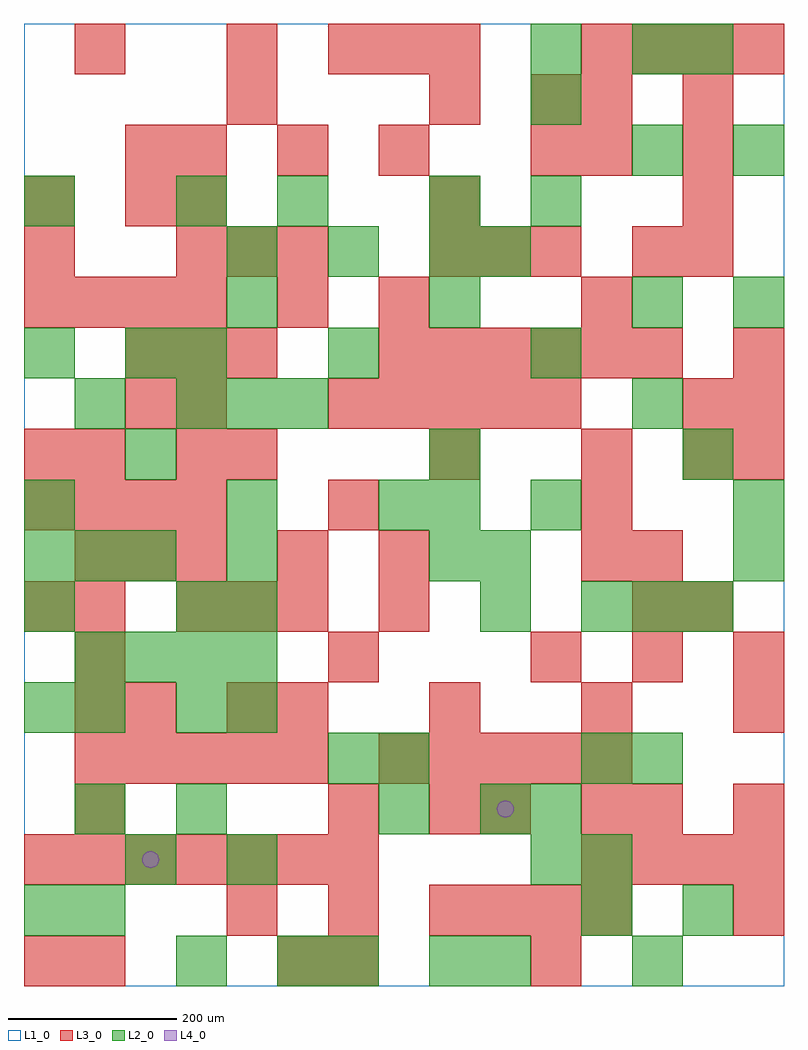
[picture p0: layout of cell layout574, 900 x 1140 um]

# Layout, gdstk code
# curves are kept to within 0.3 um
import gdstk
lib = gdstk.Library(unit=1e-6, precision=1e-09)
def R(c, l, rs):  # rectangles x0, y0, x1, y1
    for r in rs: c.add(gdstk.rectangle(r[:2], r[2:], *l))
def A(c, l, x, y, w, h, nx, ny, dx, dy):  # array of equal rectangles
    R(c, l, [(x+i*dx, y+j*dy, x+i*dx+w, y+j*dy+h) for i in range(nx) for j in range(ny)])
def P(c, l, *ps):  # polygons
    for p in ps: c.add(gdstk.Polygon(p, *l))
L1_0 = (1, 0)
L2_0 = (2, 0)
L3_0 = (3, 0)
L4_0 = (4, 0)

layout574 = lib.new_cell('layout574')
R(layout574, L1_0, [(0,0,900,1140)])
A(layout574, L2_0, 60, 60, 60, 60, 1, 3, 0, 120)
A(layout574, L2_0, 180, 180, 60, 60, 1, 3, 0, 120)
A(layout574, L2_0, 0, 300, 60, 60, 1, 3, 0, 120)
A(layout574, L2_0, 60, 360, 60, 60, 4, 1, 60, 0)
A(layout574, L2_0, 240, 420, 60, 60, 1, 3, 0, 60)
A(layout574, L2_0, 660, 420, 60, 60, 3, 1, 60, 0)
A(layout574, L2_0, 0, 480, 60, 60, 3, 1, 60, 0)
A(layout574, L2_0, 480, 480, 60, 60, 1, 3, 0, 60)
A(layout574, L2_0, 600, 540, 60, 60, 1, 3, 0, 180)
A(layout574, L2_0, 180, 660, 60, 60, 3, 1, 60, 0)
A(layout574, L2_0, 240, 780, 60, 60, 3, 1, 240, 0)
A(layout574, L2_0, 240, 840, 60, 60, 3, 1, 120, 0)
R(layout574, L2_0, [(180,0,240,60), (300,0,360,60), (360,0,420,60), (480,0,540,60), (540,0,600,60), (720,0,780,60), (0,60,60,120), (660,60,720,120), (780,60,840,120), (120,120,180,180), (240,120,300,180), (600,120,660,180), (660,120,720,180), (420,180,480,240), (540,180,600,240), (600,180,660,240), (360,240,420,300), (420,240,480,300), (660,240,720,300), (720,240,780,300), (240,300,300,360), (540,420,600,480), (540,480,600,540), (840,480,900,540), (420,540,480,600), (840,540,900,600), (120,600,180,660), (780,600,840,660), (60,660,120,720), (720,660,780,720), (0,720,60,780), (120,720,180,780), (180,720,240,780), (360,720,420,780), (840,780,900,840), (540,840,600,900), (0,900,60,960), (180,900,240,960), (300,900,360,960), (480,900,540,960), (720,960,780,1020), (840,960,900,1020), (600,1020,660,1080), (600,1080,660,1140), (720,1080,780,1140), (780,1080,840,1140)])
A(layout574, L3_0, 360, 0, 60, 60, 1, 4, 0, 180)
A(layout574, L3_0, 240, 60, 60, 60, 3, 1, 120, 0)
A(layout574, L3_0, 540, 60, 60, 60, 3, 1, 60, 0)
A(layout574, L3_0, 0, 120, 60, 60, 7, 1, 60, 0)
A(layout574, L3_0, 660, 120, 60, 60, 4, 2, 60, 960)
A(layout574, L3_0, 480, 180, 60, 60, 1, 3, 0, 420)
A(layout574, L3_0, 60, 240, 60, 60, 5, 1, 60, 0)
A(layout574, L3_0, 420, 240, 60, 60, 5, 1, 60, 0)
A(layout574, L3_0, 60, 300, 60, 60, 1, 3, 0, 60)
A(layout574, L3_0, 300, 300, 60, 60, 4, 1, 180, 0)
A(layout574, L3_0, 600, 360, 60, 60, 3, 1, 120, 0)
A(layout574, L3_0, 180, 420, 60, 60, 3, 2, 60, 420)
A(layout574, L3_0, 60, 480, 60, 60, 3, 1, 60, 0)
A(layout574, L3_0, 660, 480, 60, 60, 1, 3, 0, 60)
A(layout574, L3_0, 0, 540, 60, 60, 4, 2, 60, 240)
A(layout574, L3_0, 840, 600, 60, 60, 1, 3, 0, 60)
A(layout574, L3_0, 360, 660, 60, 60, 5, 1, 60, 0)
A(layout574, L3_0, 120, 720, 60, 60, 3, 1, 60, 0)
A(layout574, L3_0, 420, 720, 60, 60, 6, 1, 60, 0)
A(layout574, L3_0, 480, 840, 60, 60, 3, 1, 60, 0)
A(layout574, L3_0, 180, 900, 60, 60, 3, 1, 300, 0)
A(layout574, L3_0, 180, 960, 60, 60, 3, 1, 120, 0)
A(layout574, L3_0, 360, 1080, 60, 60, 3, 1, 60, 0)
R(layout574, L3_0, [(0,0,60,60), (60,0,120,60), (300,0,360,60), (600,0,660,60), (840,60,900,120), (60,180,120,240), (540,180,600,240), (660,180,720,240), (720,180,780,240), (840,180,900,240), (120,300,180,360), (240,300,300,360), (0,420,60,480), (420,420,480,480), (720,420,780,480), (780,420,840,480), (300,480,360,540), (420,480,480,540), (720,480,780,540), (0,600,60,660), (60,600,120,660), (180,600,240,660), (240,600,300,660), (780,600,840,660), (120,660,180,720), (180,660,240,720), (780,660,840,720), (300,780,360,840), (420,780,480,840), (660,780,720,840), (0,840,60,900), (720,840,780,900), (780,840,840,900), (0,900,60,960), (120,900,180,960), (120,960,180,1020), (600,960,660,1020), (660,960,720,1020), (780,960,840,1020), (240,1020,300,1080), (600,1020,660,1080), (660,1020,720,1080), (780,1020,840,1080), (60,1080,120,1140), (240,1080,300,1140)])
P(layout574, L4_0, [(160,150),(159.239,153.827),(157.071,157.071),(153.827,159.239),(150,160),(146.173,159.239),(142.929,157.071),(140.761,153.827),(140,150),(140.761,146.173),(142.929,142.929),(146.173,140.761),(150,140),(153.827,140.761),(157.071,142.929),(159.239,146.173)],
  [(580,210),(579.239,213.827),(577.071,217.071),(573.827,219.239),(570,220),(566.173,219.239),(562.929,217.071),(560.761,213.827),(560,210),(560.761,206.173),(562.929,202.929),(566.173,200.761),(570,200),(573.827,200.761),(577.071,202.929),(579.239,206.173)])

lib.write_gds('layout574.gds')
